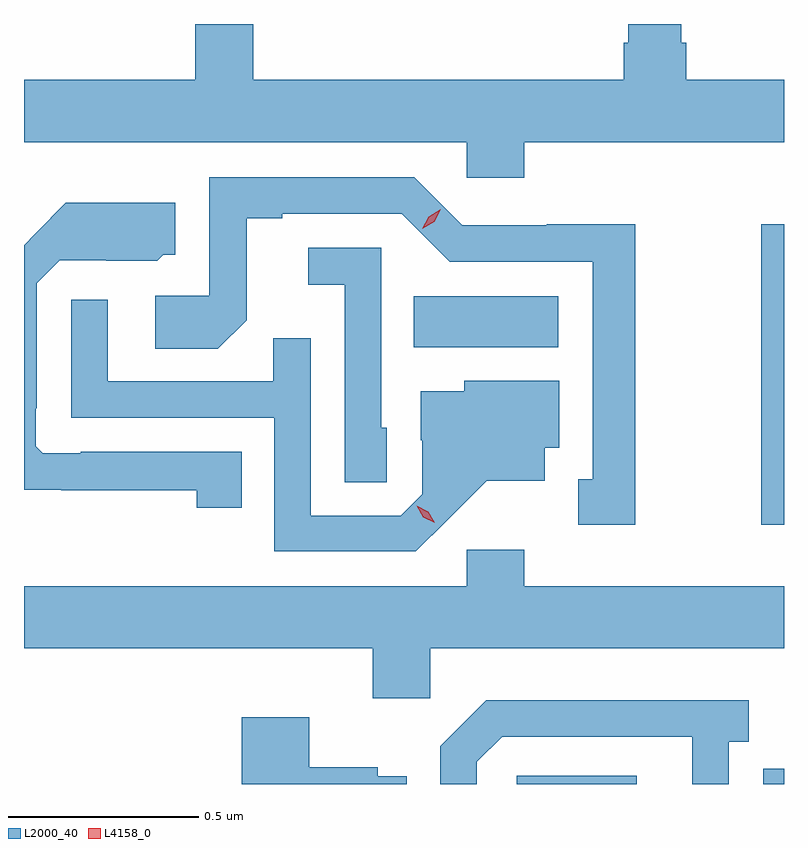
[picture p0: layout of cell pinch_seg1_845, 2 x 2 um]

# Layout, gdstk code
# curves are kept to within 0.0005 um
import gdstk
lib = gdstk.Library(unit=1e-6, precision=1e-09)
def R(c, l, rs):  # rectangles x0, y0, x1, y1
    for r in rs: c.add(gdstk.rectangle(r[:2], r[2:], *l))
def P(c, l, *ps):  # polygons
    for p in ps: c.add(gdstk.Polygon(p, *l))
L2000_40 = (2000, 40)
L4158_0 = (4158, 0)

pinch_seg1_845 = lib.new_cell('pinch_seg1_845')
R(pinch_seg1_845, L2000_40, [(479.076,556.703,479.392,556.725), (479.725,556.703,479.779,556.743), (479.719,557.385,479.779,558.176), (478.804,557.852,479.185,557.986)])
P(pinch_seg1_845, L2000_40, [(479.096,558.392),(479.779,558.392),(479.779,558.556),(479.522,558.556),(479.522,558.654),(479.509,558.654),(479.509,558.703),(479.369,558.703),(479.369,558.654),(479.357,558.654),(479.357,558.556),(478.382,558.556),(478.382,558.703),(478.229,558.703),(478.229,558.556),(477.779,558.556),(477.779,558.392),(478.944,558.392),(478.944,558.299),(479.096,558.299)],
  [(479.387,558.176),(479.154,558.176),(479.154,558.174),(478.932,558.174),(478.806,558.3),(478.266,558.3),(478.266,557.988),(478.125,557.988),(478.125,557.848),(478.289,557.848),(478.365,557.924),(478.365,558.192),(478.459,558.192),(478.459,558.204),(478.773,558.204),(478.899,558.078),(479.276,558.078),(479.276,557.505),(479.237,557.505),(479.237,557.385),(479.387,557.385)],
  [(478.352,557.577),(477.928,557.577),(477.928,557.574),(477.828,557.574),(477.81,557.592),(477.81,557.692),(477.813,557.692),(477.813,558.021),(477.873,558.081),(477.996,558.081),(477.996,558.08),(478.13,558.08),(478.146,558.096),(478.177,558.096),(478.177,558.232),(477.889,558.232),(477.779,558.121),(477.779,557.477),(477.877,557.477),(477.877,557.476),(478.234,557.476),(478.234,557.43),(478.352,557.43)],
  [(478.734,557.64),(478.719,557.64),(478.719,558.114),(478.527,558.114),(478.527,558.017),(478.623,558.017),(478.623,557.497),(478.734,557.497)],
  [(478.894,557.399),(478.997,557.501),(479.149,557.501),(479.149,557.588),(479.188,557.588),(479.188,557.764),(478.938,557.764),(478.938,557.737),(478.823,557.737),(478.823,557.608),(478.827,557.608),(478.827,557.466),(478.77,557.409),(478.533,557.409),(478.533,557.876),(478.435,557.876),(478.435,557.763),(477.999,557.763),(477.999,557.977),(477.903,557.977),(477.903,557.667),(478.437,557.667),(478.437,557.316),(478.81,557.316)],
  [(478.848,557.06),(479.779,557.06),(479.779,557.224),(479.096,557.224),(479.096,557.32),(478.944,557.32),(478.944,557.224),(477.779,557.224),(477.779,557.06),(478.697,557.06),(478.697,556.929),(478.848,556.929)],
  [(478.971,556.761),(479.037,556.827),(479.537,556.827),(479.537,556.703),(479.634,556.703),(479.634,556.814),(479.686,556.814),(479.686,556.924),(478.996,556.924),(478.875,556.803),(478.875,556.703),(478.971,556.703)],
  [(478.786,556.723),(478.71,556.723),(478.71,556.747),(478.53,556.747),(478.53,556.879),(478.352,556.879),(478.352,556.703),(478.786,556.703)])
P(pinch_seg1_845, L4158_0, [(478.827,558.164),(478.827,558.164),(478.844,558.196),(478.876,558.215),(478.876,558.215),(478.876,558.215),(478.859,558.182),(478.827,558.164)],
  [(478.86,557.39),(478.829,557.405),(478.812,557.435),(478.812,557.435),(478.813,557.435),(478.843,557.42),(478.86,557.39),(478.86,557.39)])

lib.write_gds('pinch_seg1_845.gds')
